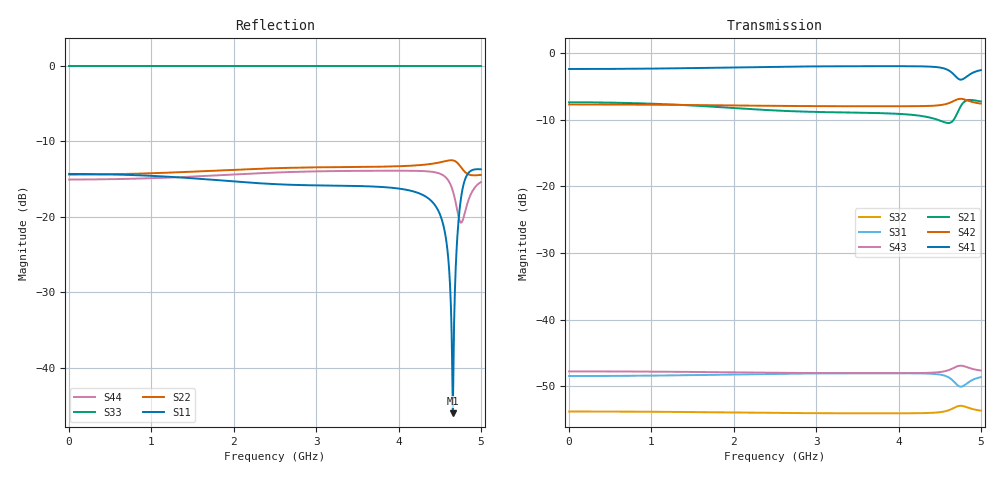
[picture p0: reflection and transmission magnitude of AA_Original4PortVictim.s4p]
! Touchstone generated by fitter/viewer
# HZ S  RI R 5.000000e+01
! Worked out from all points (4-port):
!   1000 points, 1 MHz to 5 GHz, reference 50 ohm
!   strongest paths, dB at 1 MHz, 1.252 GHz, 2.503 GHz, 3.754 GHz, 5 GHz:
!     S41: -2.4, -2.3, -2.0, -2.0, -2.6
!     S42: -7.7, -7.8, -7.9, -8.0, -7.6
!     S21: -7.4, -7.7, -8.6, -9.0, -7.2
!     S43: -47.7, -47.8, -48.0, -48.0, -47.6
!     S31: -48.4, -48.3, -48.1, -48.0, -48.6
!     S32: -53.8, -53.8, -54.0, -54.0, -53.6
!   lowest |S11| = -46.0 dB at 4.66 GHz (marker M1), VSWR 1.01, Z = 50.4 + j0.234 ohm
!   |S11| at or under -10 dB: start of sweep to end of sweep
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1000000  -0.192 1.54e-05  0.396 -5.12e-06  0.00394 -5.1e-08  0.792 -1.02e-05
         0.4279 -3e-05  0.1901 9.97e-06  0.00189 9.92e-08  0.3802 1.99e-05
         0.00378 7.22e-08  0.00205 -2.4e-08  0.9901 -2.39e-10  0.0041 -4.8e-08
         0.7603 1.45e-05  0.4119 -4.82e-06  0.0041 -4.8e-08  -0.1763 -9.64e-06
4.269415e9  -0.1376 0.0331  0.3779 -0.011  0.00376 -0.00011  0.7559 -0.022
            0.3384 0.00142  0.2198 -0.000472  0.00219 -4.69e-06  0.4396 -0.000943
            0.00396 -0.000171  0.00199 5.68e-05  0.9901 5.65e-07  0.00398 0.000114
            0.7953 -0.0344  0.4002 0.0114  0.00398 0.000114  -0.1995 0.0228
4.54964e9  -0.0705 0.0485  0.3557 -0.0161  0.00354 -0.00016  0.7113 -0.0323
           0.3025 0.0332  0.2317 -0.011  0.00231 -0.00011  0.4635 -0.0221
           0.0038 -0.000405  0.00204 0.000135  0.9901 1.34e-06  0.00409 0.000269
           0.7642 -0.0814  0.4106 0.027  0.00409 0.000269  -0.1789 0.0541
4.659728e9  0.00445 0.00232  0.3308 -0.000772  0.00329 -7.68e-06  0.6615 -0.00154
            0.2959 0.0942  0.2339 -0.0313  0.00233 -0.000311  0.4678 -0.0626
            0.00346 -0.000478  0.00216 0.000159  0.9901 1.58e-06  0.00431 0.000318
            0.6962 -0.096  0.4332 0.0319  0.00431 0.000318  -0.1337 0.0638
4.714772e9  0.0207 -0.0718  0.3254 0.0238  0.00324 0.000237  0.6507 0.0477
            0.3293 0.1349  0.2228 -0.0448  0.00222 -0.000446  0.4457 -0.0896
            0.00322 -0.000313  0.00224 0.000104  0.9901 1.03e-06  0.00447 0.000208
            0.6468 -0.0628  0.4496 0.0209  0.00447 0.000208  -0.1009 0.0418
4.769816e9  -0.0248 -0.1433  0.3405 0.0476  0.00339 0.000474  0.6809 0.0952
            0.3876 0.1411  0.2035 -0.0469  0.00202 -0.000467  0.4069 -0.0938
            0.00315 1.07e-05  0.00226 -3.55e-06  0.9901 -3.54e-08  0.00452 -7.11e-06
            0.6341 0.00215  0.4538 -0.000714  0.00452 -7.11e-06  -0.0924 -0.00143
5e9  -0.1788 -0.1025  0.3916 0.0341  0.0039 0.000339  0.7833 0.0681
     0.4321 0.0416  0.1887 -0.0138  0.00188 -0.000137  0.3774 -0.0276
     0.0037 0.000302  0.00208 -0.0001  0.9901 -9.98e-07  0.00416 -0.000201
     0.743 0.0607  0.4176 -0.0202  0.00416 -0.000201  -0.1648 -0.0403
